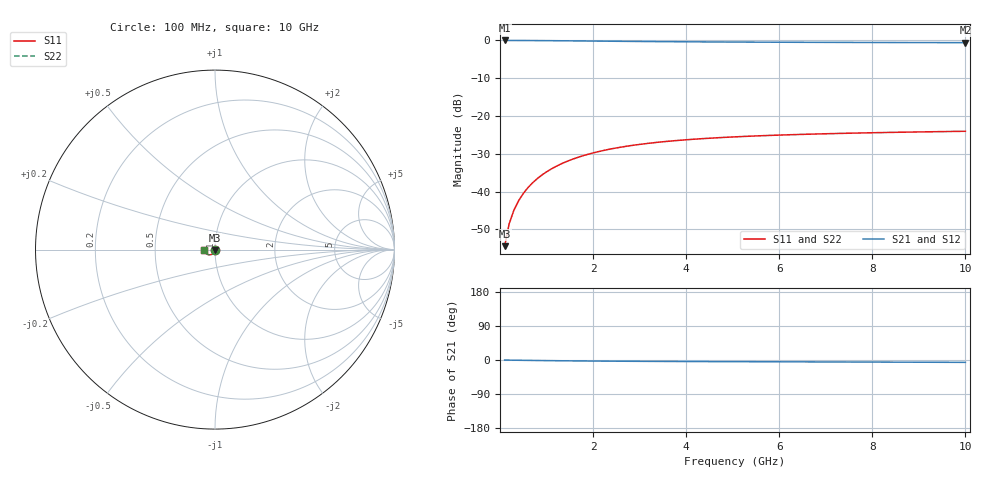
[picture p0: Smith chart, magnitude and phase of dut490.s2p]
! Touchstone file exported from HFSS 2024.1.0
!  File:  C:/UserFiles/LocalFiles/RDL_TSV_Batchsim/temp_TSV1_490_1779700444.aedt
!  Generated:  05:18:42 PM May 25, 2026
!  Design:  TSV1
!  Project:  temp_TSV1_490_1779700444
!  Setup:  Setup1
!  Solution:  Sweep
! Variables:
!  dtsv = 12.92um
!  hbump = 3um
!  htsv = 97.76um
!  lrdl = 252.1521522um
!  p = 40
!  p1 = 56.81um
!  t = 500um
!  trdl = 3um
!  wrdl = 24.89489489um
# GHz S MA R 50.000000
! Terminal data exported
! Port[1] = TSV22_T1
! Port[2] = TSV22_T2
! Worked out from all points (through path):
!   100 points, 100 MHz to 10 GHz, reference 50 ohm
!   highest |S21| = 0.00 dB at 100 MHz (marker M1); lowest = -0.6 dB at 10 GHz (marker M2)
!   lowest |S11| = -54.4 dB at 100 MHz (marker M3), VSWR 1.00, Z = 50 - j0.19 ohm
!   |S11| at or under -10 dB: start of sweep to end of sweep
!   |S22| runs from -54.4 to -24.0 dB; largest |S21 - S12| = 9.3e-15
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0.1  0.0019 -88.9  0.9998 -0.2  0.9998 -0.2  0.0019 -88.9
! Gamma 0 0 0 0
! Port Impedance 50 0 50 0
0.2  0.003796 -92.2  0.9996 -0.3  0.9996 -0.3  0.003796 -92.2
0.3  0.005687 -94.5  0.9993 -0.5  0.9993 -0.5  0.005687 -94.5
0.4  0.007568 -96.7  0.9988 -0.7  0.9988 -0.7  0.007568 -96.7
0.5  0.00943 -98.7  0.9983 -0.8  0.9983 -0.8  0.00943 -98.7
0.6  0.01127 -100.7  0.9976 -1.0  0.9976 -1.0  0.01127 -100.7
0.7  0.01307 -102.6  0.9968 -1.2  0.9968 -1.2  0.01307 -102.6
0.8  0.01485 -104.6  0.996 -1.3  0.996 -1.3  0.01485 -104.6
0.9  0.01658 -106.4  0.995 -1.5  0.995 -1.5  0.01658 -106.4
1.1  0.01991 -110.0  0.993 -1.7  0.993 -1.7  0.01991 -110.0
1.4  0.02456 -115.2  0.9894 -2.1  0.9894 -2.1  0.02456 -115.2
1.6  0.02741 -118.4  0.9869 -2.3  0.9869 -2.3  0.02741 -118.4
1.8  0.03006 -121.5  0.9843 -2.6  0.9843 -2.6  0.03006 -121.5
2.1  0.03367 -125.8  0.9804 -2.8  0.9804 -2.8  0.03367 -125.8
2.5  0.03784 -131.1  0.9754 -3.2  0.9754 -3.2  0.03784 -131.1
2.9  0.04136 -135.8  0.9707 -3.4  0.9707 -3.4  0.04136 -135.8
3.4  0.04502 -141.0  0.9654 -3.7  0.9654 -3.7  0.04502 -141.0
4.2  0.04953 -148.1  0.9583 -4.1  0.9583 -4.1  0.04953 -148.1
5.1  0.05323 -154.6  0.9521 -4.4  0.9521 -4.4  0.05323 -154.6
6.7  0.05768 -163.8  0.9445 -5.0  0.9445 -5.0  0.05768 -163.8
8.4  0.06077 -171.4  0.9392 -5.6  0.9392 -5.6  0.06077 -171.4
10  0.06289 -177.4  0.9359 -6.2  0.9359 -6.2  0.06289 -177.4
